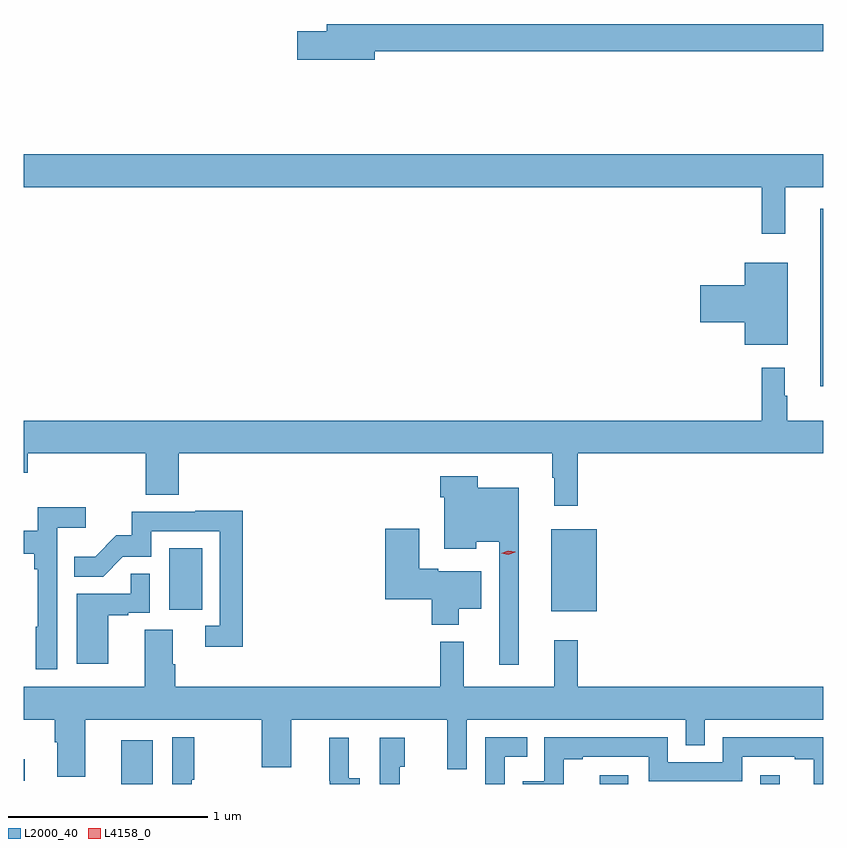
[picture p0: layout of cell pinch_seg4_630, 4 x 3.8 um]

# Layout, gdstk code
import gdstk
lib = gdstk.Library(unit=1e-6, precision=1e-09)
def R(c, l, rs):  # rectangles x0, y0, x1, y1
    for r in rs: c.add(gdstk.rectangle(r[:2], r[2:], *l))
def P(c, l, *ps):  # polygons
    for p in ps: c.add(gdstk.Polygon(p, *l))
L2000_40 = (2000, 40)
L4158_0 = (4158, 0)

pinch_seg4_630 = lib.new_cell('pinch_seg4_630')
R(pinch_seg4_630, L2000_40, [(1046.462,765.862,1046.62,766.081), (1048.855,765.862,1048.999,765.907), (1049.658,765.862,1049.755,765.907), (1045.974,765.879,1045.978,765.985), (1048.613,766.727,1048.84,767.137), (1046.702,766.734,1046.866,767.041), (1049.96,767.852,1049.974,768.739)])
P(pinch_seg4_630, L2000_40, [(1047.73,769.528),(1049.974,769.528),(1049.974,769.664),(1047.491,769.664),(1047.491,769.628),(1047.342,769.628),(1047.342,769.486),(1047.73,769.486)],
  [(1049.783,768.848),(1049.974,768.848),(1049.974,769.012),(1045.974,769.012),(1045.974,768.848),(1049.665,768.848),(1049.665,768.615),(1049.783,768.615)],
  [(1049.797,768.469),(1049.582,768.469),(1049.582,768.356),(1049.358,768.356),(1049.358,768.173),(1049.582,768.173),(1049.582,768.059),(1049.797,768.059)],
  [(1048.745,767.516),(1049.974,767.516),(1049.974,767.68),(1049.794,767.68),(1049.794,767.804),(1049.782,767.804),(1049.782,767.944),(1049.665,767.944),(1049.665,767.68),(1045.974,767.68),(1045.974,767.418),(1045.994,767.418),(1045.994,767.516),(1046.585,767.516),(1046.585,767.308),(1046.75,767.308),(1046.75,767.516),(1048.617,767.516),(1048.617,767.393),(1048.628,767.393),(1048.628,767.253),(1048.745,767.253)],
  [(1048.45,767.344),(1048.245,767.344),(1048.245,767.401),(1048.058,767.401),(1048.058,767.297),(1048.079,767.297),(1048.079,767.039),(1048.237,767.039),(1048.237,767.075),(1048.353,767.075),(1048.353,766.458),(1048.45,766.458)],
  [(1046.142,767.144),(1046.284,767.144),(1046.284,767.246),(1046.045,767.246),(1046.045,767.13),(1045.974,767.13),(1045.974,767.014),(1046.026,767.014),(1046.026,766.937),(1046.045,766.937),(1046.045,766.649),(1046.034,766.649),(1046.034,766.437),(1046.142,766.437)],
  [(1047.071,767.228),(1046.833,767.228),(1046.833,767.223),(1046.515,767.223),(1046.515,767.106),(1046.438,767.106),(1046.331,766.999),(1046.227,766.999),(1046.227,766.9),(1046.371,766.9),(1046.469,766.998),(1046.613,766.998),(1046.613,767.127),(1046.955,767.127),(1046.955,766.653),(1046.883,766.653),(1046.883,766.548),(1047.071,766.548)],
  [(1048.15,766.739),(1048.264,766.739),(1048.264,766.927),(1048.048,766.927),(1048.048,766.94),(1047.952,766.94),(1047.952,767.14),(1047.782,767.14),(1047.782,766.787),(1048.016,766.787),(1048.016,766.658),(1048.15,766.658)],
  [(1046.398,766.707),(1046.498,766.707),(1046.498,766.719),(1046.604,766.719),(1046.604,766.913),(1046.509,766.913),(1046.509,766.815),(1046.24,766.815),(1046.24,766.464),(1046.398,766.464)],
  [(1046.281,766.184),(1047.166,766.184),(1047.166,765.945),(1047.313,765.945),(1047.313,766.184),(1048.094,766.184),(1048.094,765.936),(1048.191,765.936),(1048.191,766.184),(1049.286,766.184),(1049.286,766.057),(1049.382,766.057),(1049.382,766.184),(1049.974,766.184),(1049.974,766.348),(1048.745,766.348),(1048.745,766.582),(1048.628,766.582),(1048.628,766.348),(1048.175,766.348),(1048.175,766.573),(1048.057,766.573),(1048.057,766.348),(1046.732,766.348),(1046.732,766.46),(1046.719,766.46),(1046.719,766.634),(1046.579,766.634),(1046.579,766.348),(1045.974,766.348),(1045.974,766.184),(1046.129,766.184),(1046.129,766.072),(1046.141,766.072),(1046.141,765.898),(1046.281,765.898)],
  [(1046.815,765.883),(1046.827,765.883),(1046.827,766.096),(1046.718,766.096),(1046.718,765.862),(1046.815,765.862)],
  [(1048.38,765.999),(1048.493,765.999),(1048.493,766.095),(1048.284,766.095),(1048.284,765.862),(1048.38,765.862)],
  [(1048.676,765.987),(1048.771,765.987),(1048.771,765.999),(1049.1,765.999),(1049.1,765.876),(1049.568,765.876),(1049.568,765.999),(1049.831,765.999),(1049.831,765.987),(1049.927,765.987),(1049.927,765.862),(1049.974,765.862),(1049.974,766.095),(1049.472,766.095),(1049.472,765.972),(1049.196,765.972),(1049.196,766.095),(1048.578,766.095),(1048.578,765.876),(1048.47,765.876),(1048.47,765.862),(1048.676,765.862)],
  [(1047.855,765.948),(1047.88,765.948),(1047.88,766.093),(1047.756,766.093),(1047.756,765.862),(1047.855,765.862)],
  [(1047.655,765.891),(1047.601,765.891),(1047.601,766.093),(1047.503,766.093),(1047.503,765.879),(1047.504,765.879),(1047.504,765.862),(1047.655,765.862)])
P(pinch_seg4_630, L4158_0, [(1048.399,767.01),(1048.363,767.017),(1048.363,767.017),(1048.363,767.017),(1048.398,767.03),(1048.434,767.023),(1048.434,767.022),(1048.434,767.022)])

lib.write_gds('pinch_seg4_630.gds')
